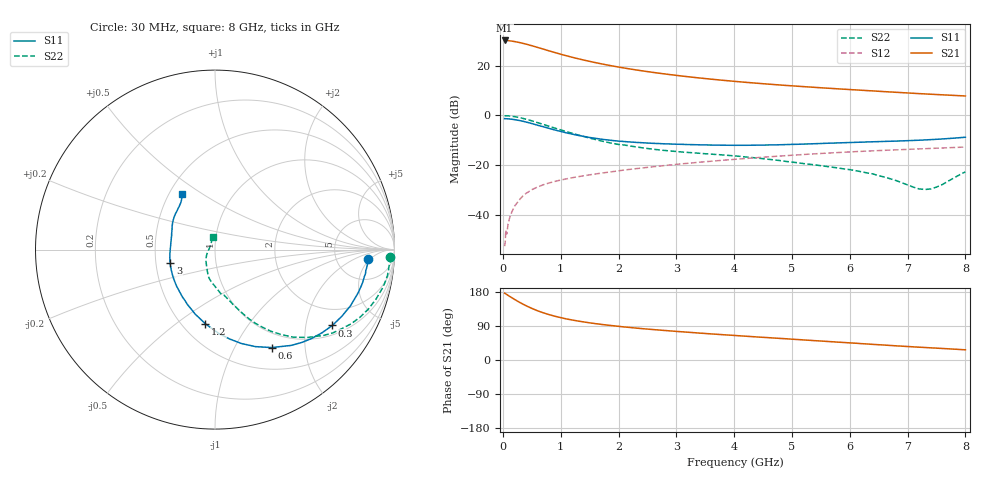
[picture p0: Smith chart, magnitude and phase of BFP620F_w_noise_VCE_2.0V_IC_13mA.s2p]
! Infineon Technologies  Discrete & RF Semiconductors
! BFP620F
! VCE =  2.0 V,  IC =  13 mA
! Common Emitter S-Parameters:  Dec 2014
# GHz  S  MA  R  50
!  f  S11  S21  S12  S22
! GHz  MAG  ANG  MAG  ANG  MAG  ANG  MAG  ANG
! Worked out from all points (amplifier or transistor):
!   95 points, 30 MHz to 8 GHz, reference 50 ohm
!   highest |S21| = 30.2 dB at 30 MHz (marker M1)
!   |S21| within 3 dB of that: start of sweep to 629.5 MHz
!   unconditionally stable (mu >= 1): 3.526 GHz to end of sweep
!   at 300 MHz: K = 0.22, MSG = 31.5 dB, |S12| = -33.7 dB
!   at 3.3 GHz: K = 0.99, MSG = 17.2 dB, |S12| = -19.1 dB
!   at 8 GHz: K = 1.08, MAG = 8.6 dB, |S12| = -12.8 dB
!   lowest NFmin = 0.66 dB at 450 MHz
!   S11 on the Smith chart (normalised r, x): 30 MHz: 11, -4; 300 MHz: 1.32, -2.83; 600 MHz: 0.79, -1.42; 1.2 GHz: 0.64, -0.65; 3 GHz: 0.59, -0.10; 8 GHz: 0.58, +0.42
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0.03  0.8547 -3.4  32.18 176.5  0.0023 58.1  0.9767 -2.4
0.08  0.849 -9.1  32.01 171.5  0.0052 82.4  0.9734 -6.8
0.15  0.8325 -17.0  31.3 164.8  0.0109 77.3  0.9571 -13.0
0.25  0.7981 -27.8  29.85 155.5  0.0174 75.9  0.9165 -21.2
0.3  0.7784 -32.9  29.01 151.3  0.0207 72.9  0.891 -25.1
0.4  0.7304 -42.8  27.2 143.3  0.0266 69.3  0.8321 -32.0
0.45  0.7067 -47.2  26.19 139.7  0.029 67.7  0.8044 -35.2
0.6  0.6302 -60.0  23.32 129.9  0.0359 63.6  0.7099 -43.6
0.8  0.5435 -74.3  19.85 119.7  0.0432 60.0  0.5994 -52.1
0.9  0.5051 -80.6  18.36 115.5  0.0464 58.7  0.5513 -55.6
1.1  0.4411 -92.1  15.81 108.4  0.0523 57.3  0.4679 -61.3
1.2  0.4168 -97.4  14.75 105.5  0.0551 56.6  0.4334 -63.6
1.4  0.3756 -107.2  12.95 100.4  0.0603 55.9  0.3724 -67.7
1.6  0.3435 -116.3  11.51 96.0  0.0655 55.2  0.3249 -71.6
1.9  0.3096 -128.7  9.833 90.5  0.0731 54.7  0.2711 -77.0
2.7  0.269 -155.1  7.046 79.1  0.0944 52.6  0.2007 -90.9
3  0.2609 -163.0  6.37 75.5  0.1023 51.8  0.186 -95.0
4.1  0.2483 173.7  4.72 63.8  0.1319 47.4  0.1485 -104.8
5.4  0.2674 153.6  3.646 51.0  0.1671 40.7  0.1 -118.4
6.7  0.2992 136.4  2.949 38.4  0.1987 32.6  0.0525 -149.9
7.3  0.3183 127.7  2.693 33.0  0.2121 29.1  0.0319 158.9
8  0.3609 120.3  2.449 26.9  0.2287 24.7  0.0724 100.3
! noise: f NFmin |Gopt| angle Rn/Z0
0.45  0.66  0.19  8  0.2
0.9  0.73  0.17  18  0.18
1.5  0.78  0.17  20  0.13
1.8  0.81  0.15  23  0.11
1.9  0.82  0.11  37  0.13
2.4  0.86  0.1  53  0.12
3.5  0.95  0.09  78  0.12
5.5  1.11  0.11  197  0.09
6  1.15  0.1  226  0.13
